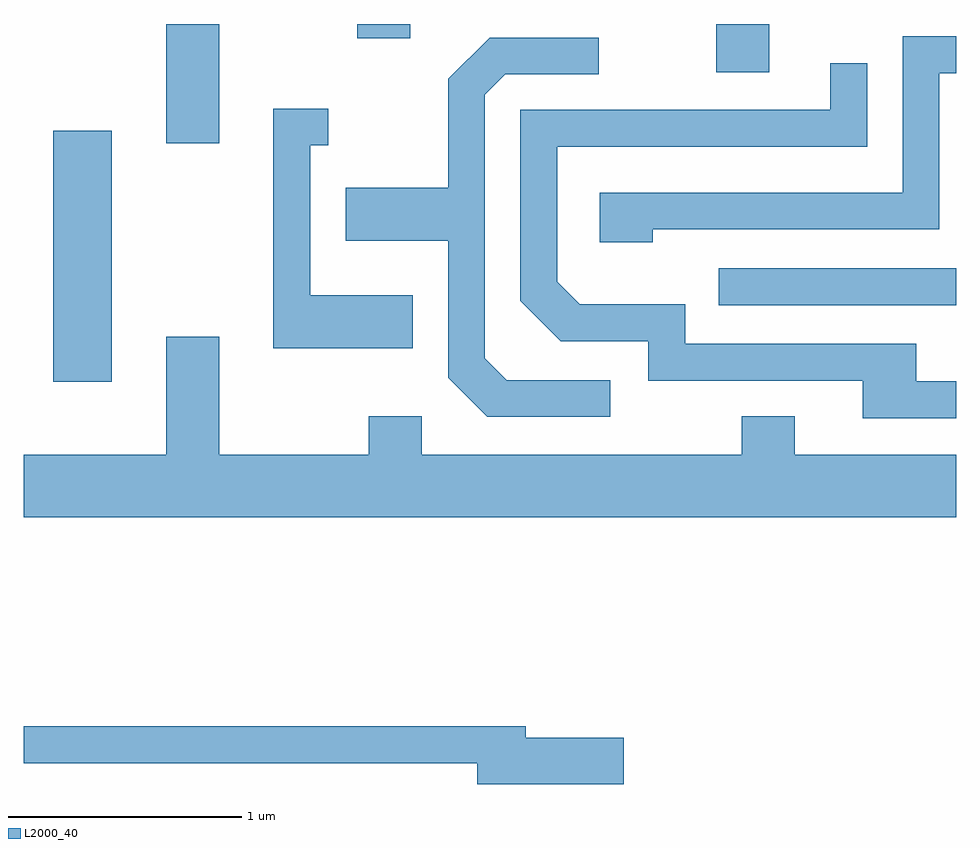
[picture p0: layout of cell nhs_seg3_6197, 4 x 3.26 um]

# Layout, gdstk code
import gdstk
lib = gdstk.Library(unit=1e-6, precision=1e-09)
def R(c, l, rs):  # rectangles x0, y0, x1, y1
    for r in rs: c.add(gdstk.rectangle(r[:2], r[2:], *l))
def P(c, l, *ps):  # polygons
    for p in ps: c.add(gdstk.Polygon(p, *l))
L2000_40 = (2000, 40)

nhs_seg3_6197 = lib.new_cell('nhs_seg3_6197')
R(nhs_seg3_6197, L2000_40, [(367.736,1144.356,367.989,1145.434), (370.593,1144.686,371.611,1144.844), (368.221,1145.381,368.449,1145.892), (370.581,1145.686,370.809,1145.892), (369.041,1145.831,369.269,1145.892)])
P(nhs_seg3_6197, L2000_40, [(370.309,1145.011),(371.539,1145.011),(371.539,1145.681),(371.611,1145.681),(371.611,1145.839),(371.381,1145.839),(371.381,1145.169),(370.081,1145.169),(370.081,1144.956),(370.309,1144.956)],
  [(370.128,1144.364),(369.682,1144.364),(369.589,1144.457),(369.589,1145.589),(369.677,1145.676),(370.078,1145.676),(370.078,1145.834),(369.609,1145.834),(369.431,1145.657),(369.431,1145.189),(368.991,1145.189),(368.991,1144.961),(369.431,1144.961),(369.431,1144.374),(369.599,1144.206),(370.128,1144.206)],
  [(371.611,1144.359),(371.439,1144.359),(371.439,1144.519),(370.449,1144.519),(370.449,1144.689),(369.997,1144.689),(369.899,1144.787),(369.899,1145.366),(371.229,1145.366),(371.229,1145.723),(371.071,1145.723),(371.071,1145.524),(369.741,1145.524),(369.741,1144.704),(369.914,1144.531),(370.291,1144.531),(370.291,1144.361),(371.211,1144.361),(371.211,1144.201),(371.611,1144.201)],
  [(369.279,1144.729),(368.839,1144.729),(368.839,1145.371),(368.918,1145.371),(368.918,1145.529),(368.681,1145.529),(368.681,1144.501),(369.279,1144.501)],
  [(371.611,1144.044),(370.919,1144.044),(370.919,1144.209),(370.691,1144.209),(370.691,1144.044),(369.319,1144.044),(369.319,1144.209),(369.091,1144.209),(369.091,1144.044),(368.449,1144.044),(368.449,1144.549),(368.221,1144.549),(368.221,1144.044),(367.611,1144.044),(367.611,1143.776),(371.611,1143.776)],
  [(370.184,1142.829),(369.764,1142.829),(369.764,1142.879),(367.611,1142.879),(367.611,1142.721),(369.556,1142.721),(369.556,1142.631),(370.184,1142.631)])

lib.write_gds('nhs_seg3_6197.gds')
